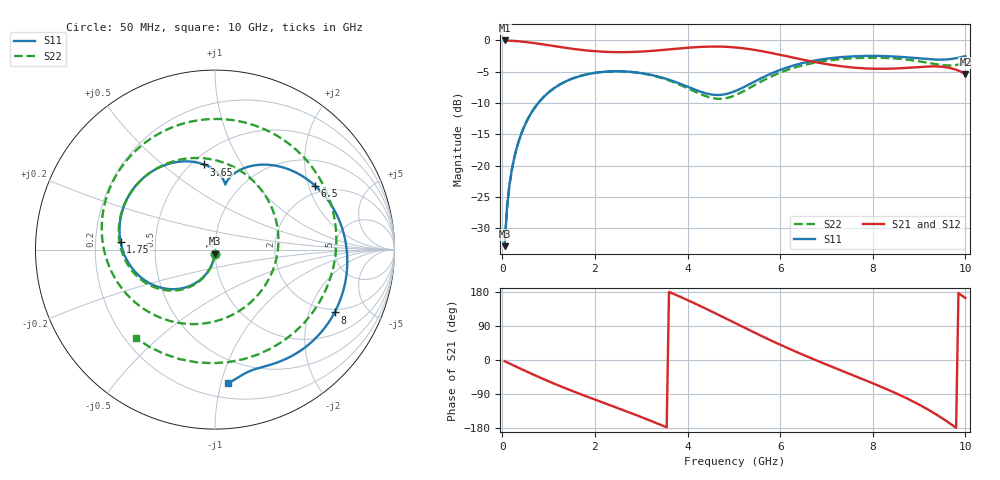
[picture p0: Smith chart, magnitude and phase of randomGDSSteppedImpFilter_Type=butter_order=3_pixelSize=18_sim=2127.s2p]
! freq	dB(S11)	phase(S11)	dB(S12)	phase(S12)
!  dB(S21)	phase(S21)	dB(S22)	phase(S22)
!S-par simulation data
#  GHz  S  DB  R 50
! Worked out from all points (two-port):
!   200 points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, 50 MHz to 10 GHz, reference 50 ohm
!   highest |S21| = -0.01 dB at 50 MHz (marker M1); lowest = -5.4 dB at 10 GHz (marker M2)
!   |S21| within 3 dB of the highest: start of sweep to 6.447 GHz
!   lowest |S11| = -32.9 dB at 50 MHz (marker M3), VSWR 1.05, Z = 49.8 - j2.27 ohm
!   |S11| at or under -10 dB: start of sweep to 776.8 MHz
!   |S22| runs from -32.8 to -2.8 dB; largest |S21 - S12| = 0
!   S11 on the Smith chart (normalised r, x): 50 MHz: 1.00, -0.05; 1.75 GHz: 0.31, +0.04; 3.65 GHz: 0.57, +0.70; 6.5 GHz: 1.74, +2.21; 8 GHz: 1.85, -2.99; 10 GHz: 0.31, -1.06
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0.05  -32.85 -93.0  -0.01 -3.0  -0.01 -3.0  -32.85 -92.9
0.1  -26.85 -96.2  -0.02 -5.9  -0.02 -5.9  -26.85 -96.0
0.2  -20.90 -102.5  -0.06 -11.8  -0.06 -11.8  -20.90 -102.0
0.5  -13.32 -120.2  -0.25 -29.1  -0.25 -29.1  -13.32 -119.0
1.1  -7.72 -153.1  -0.88 -61.4  -0.88 -61.4  -7.72 -150.8
1.75  -5.55 175.2  -1.55 -92.9  -1.55 -92.9  -5.55 177.9
2.5  -4.92 142.1  -1.87 -127.2  -1.87 -127.2  -4.94 142.6
3.4  -5.83 106.1  -1.57 -170.1  -1.57 -170.1  -5.91 93.7
3.65  -6.40 97.5  -1.40 177.1  -1.40 177.1  -6.53 76.9
4.4  -8.45 81.9  -1.00 135.2  -1.00 135.2  -8.91 9.4
5.05  -8.03 79.4  -1.13 96.0  -1.13 96.0  -8.69 -68.4
5.7  -5.64 64.2  -1.85 57.4  -1.85 57.4  -6.14 -131.4
6.5  -3.59 32.5  -3.09 13.5  -3.09 13.5  -3.95 173.1
6.7  -3.27 24.1  -3.38 3.2  -3.38 3.2  -3.62 161.1
7.4  -2.62 -4.7  -4.20 -31.7  -4.20 -31.7  -2.93 120.8
8  -2.47 -27.7  -4.52 -61.5  -4.52 -61.5  -2.76 85.1
8.35  -2.52 -40.2  -4.52 -79.6  -4.52 -79.6  -2.82 61.9
8.85  -2.77 -56.4  -4.32 -108.2  -4.32 -108.2  -3.16 22.0
9.2  -2.99 -66.0  -4.16 -131.2  -4.16 -131.2  -3.58 -14.0
9.4  -3.06 -70.7  -4.16 -146.0  -4.16 -146.0  -3.84 -39.1
9.65  -3.00 -75.9  -4.37 -166.1  -4.37 -166.1  -4.00 -75.4
10  -2.51 -84.3  -5.38 163.4  -5.38 163.4  -3.58 -131.9
